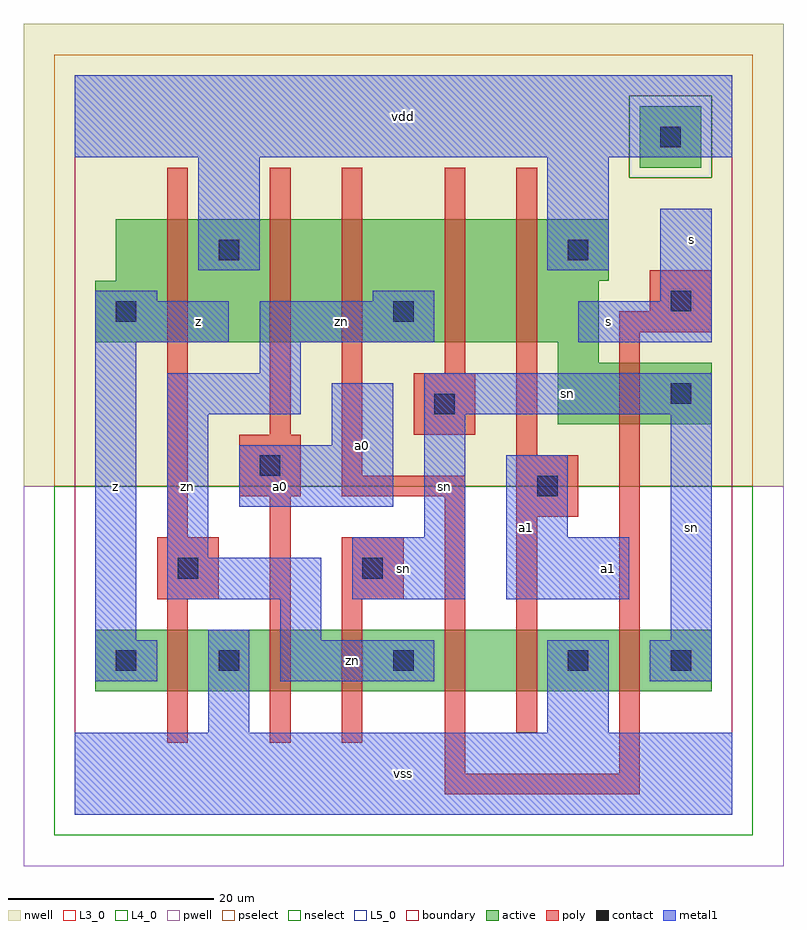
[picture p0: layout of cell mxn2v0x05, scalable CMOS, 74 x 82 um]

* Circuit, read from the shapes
.subckt mxn2v0x05 a0 a1 s sn vdd vss z zn
M1 vss zn z VSUBS nfet w=6u l=2u
M2 n1 a0 vss VSUBS nfet w=6u l=2u
M3 zn sn n1 VSUBS nfet w=6u l=2u
M4 n2 s zn VSUBS nfet w=6u l=2u
M5 vss a1 n2 VSUBS nfet w=6u l=2u
M6 sn s vss VSUBS nfet w=6u l=2u
M7 vdd zn z vdd pfet w=12u l=2u
M8 n3 a0 vdd vdd pfet w=12u l=2u
M9 zn s n3 vdd pfet w=12u l=2u
M10 n4 sn zn vdd pfet w=12u l=2u
M11 vdd a1 n4 vdd pfet w=12u l=2u
M12 sn s vdd vdd pfet w=6u l=2u
.ends

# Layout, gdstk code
import gdstk
lib = gdstk.Library(unit=1e-6, precision=1e-09)
def R(c, l, rs):  # rectangles x0, y0, x1, y1
    for r in rs: c.add(gdstk.rectangle(r[:2], r[2:], *l))
def A(c, l, x, y, w, h, nx, ny, dx, dy):  # array of equal rectangles
    R(c, l, [(x+i*dx, y+j*dy, x+i*dx+w, y+j*dy+h) for i in range(nx) for j in range(ny)])
L3_0 = (3, 0)
L4_0 = (4, 0)
L5_0 = (5, 0)
contact = (25, 0)
pwell = (41, 0)
nwell = (42, 0)
active = (43, 0)
pselect = (44, 0)
nselect = (45, 0)
poly = (46, 0)
metal1 = (49, 0)
boundary = (63, 0)

mxn2v0x05 = lib.new_cell('mxn2v0x05')
R(mxn2v0x05, L3_0, [(2,12,62,18)])
R(mxn2v0x05, L4_0, [(47,38,62,44), (47,44,51,46), (2,46,51,52), (4,52,52,58)])
R(mxn2v0x05, L5_0, [(55,63,61,69)])
A(mxn2v0x05, contact, 14, 14, 2, 2, 3, 1, 17, 0)
R(mxn2v0x05, contact, [(4,14,6,16), (58,14,60,16), (10,23,12,25), (28,23,30,25), (45,31,47,33), (18,33,20,35), (35,39,37,41), (58,40,60,42), (4,48,6,50), (31,48,33,50), (58,49,60,51), (14,54,16,56), (48,54,50,56), (57,65,59,67)])
R(mxn2v0x05, pwell, [(-5,-5,69,32)])
R(mxn2v0x05, nwell, [(-5,32,69,77)])
R(mxn2v0x05, active, [(2,12,62,18), (47,38,62,44), (47,44,51,46), (2,46,51,52), (4,52,52,58), (55,63,61,69)])
R(mxn2v0x05, pselect, [(-2,32,66,62), (-2,62,54,70), (62,62,66,70), (-2,70,66,74)])
R(mxn2v0x05, nselect, [(-2,-2,66,32), (54,62,62,70)])
R(mxn2v0x05, poly, [(36,2,55,4), (36,4,38,31), (53,4,55,47), (9,7,11,21), (19,7,21,31), (26,7,28,21), (43,8,45,29), (8,21,14,27), (26,21,32,27), (9,27,11,63), (43,29,49,35), (16,31,22,37), (26,31,38,33), (26,33,28,63), (43,35,45,63), (19,37,21,63), (33,37,39,43), (36,43,38,63), (53,47,62,49), (56,49,62,53)])
R(mxn2v0x05, metal1, [(0,0,64,8), (13,8,17,18), (46,8,52,17), (2,13,8,17), (20,13,35,17), (56,13,62,17), (2,17,6,46), (20,17,24,21), (58,17,62,39), (9,21,24,25), (27,21,38,27), (42,21,54,27), (9,25,13,39), (34,27,38,39), (42,27,48,35), (16,30,31,36), (25,36,31,42), (9,39,22,43), (34,39,62,43), (18,43,22,46), (2,46,15,50), (18,46,35,50), (49,46,62,50), (2,50,8,51), (29,50,35,51), (57,50,62,59), (12,53,18,64), (46,53,52,64), (0,64,64,72)])
R(mxn2v0x05, boundary, [(0,0,64,72)])
mxn2v0x05.add(gdstk.Label('zn', (11,32), layer=49, texttype=0))
mxn2v0x05.add(gdstk.Label('zn', (27,15), layer=49, texttype=0))
mxn2v0x05.add(gdstk.Label('sn', (32,24), layer=49, texttype=0))
mxn2v0x05.add(gdstk.Label('sn', (36,32), layer=49, texttype=0))
mxn2v0x05.add(gdstk.Label('zn', (26,48), layer=49, texttype=0))
mxn2v0x05.add(gdstk.Label('sn', (60,28), layer=49, texttype=0))
mxn2v0x05.add(gdstk.Label('sn', (48,41), layer=49, texttype=0))
mxn2v0x05.add(gdstk.Label('z', (4,32), layer=49, texttype=0))
mxn2v0x05.add(gdstk.Label('z', (12,48), layer=49, texttype=0))
mxn2v0x05.add(gdstk.Label('a0', (20,32), layer=49, texttype=0))
mxn2v0x05.add(gdstk.Label('a0', (28,36), layer=49, texttype=0))
mxn2v0x05.add(gdstk.Label('vss', (32,4), layer=49, texttype=0))
mxn2v0x05.add(gdstk.Label('a1', (44,28), layer=49, texttype=0))
mxn2v0x05.add(gdstk.Label('vdd', (32,68), layer=49, texttype=0))
mxn2v0x05.add(gdstk.Label('a1', (52,24), layer=49, texttype=0))
mxn2v0x05.add(gdstk.Label('s', (52,48), layer=49, texttype=0))
mxn2v0x05.add(gdstk.Label('s', (60,56), layer=49, texttype=0))

lib.write_gds('mxn2v0x05.gds')
